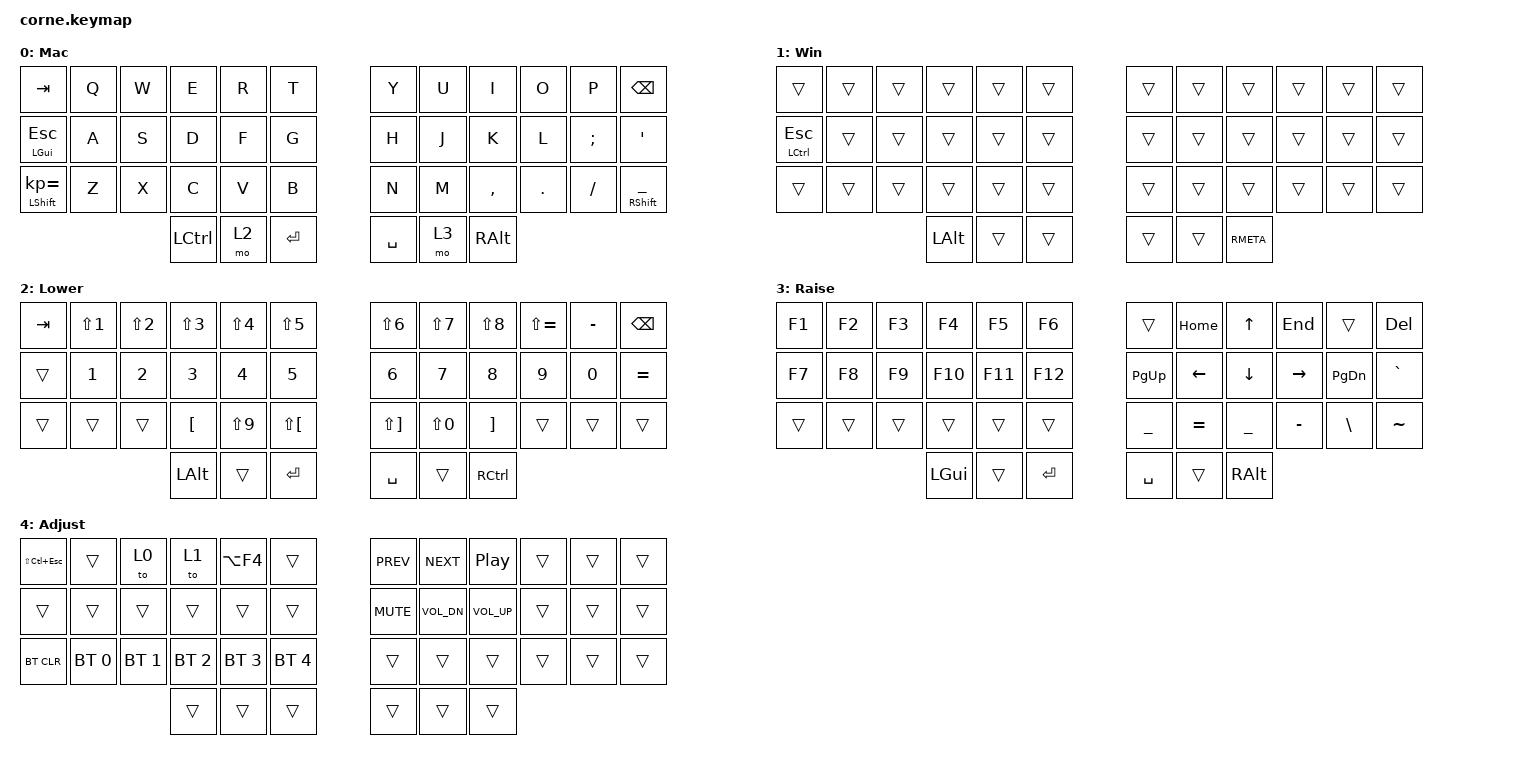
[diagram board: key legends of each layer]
/*
 * Copyright (c) 2020 The ZMK Contributors
 *
 * SPDX-License-Identifier: MIT
 */

#include <behaviors.dtsi>
#include <dt-bindings/zmk/bt.h>
#include <dt-bindings/zmk/keys.h>

/ {
    keymap {
        compatible = "zmk,keymap";

        default_layer {
            // -----------------------------------------------------------------------------------------
            // |  TAB |  Q  |  W  |  E  |  R  |  T  |   |  Y  |  U   |  I  |  O  |  P  | BKSP |
            // | CTRL |  A  |  S  |  D  |  F  |  G  |   |  H  |  J   |  K  |  L  |  ;  |  '   |
            // | SHFT |  Z  |  X  |  C  |  V  |  B  |   |  N  |  M   |  ,  |  .  |  /  | ESC  |
            //                    | GUI | LWR | SPC |   | ENT | RSE  | ALT |

            display-name = "Mac";
            bindings = <
&kp TAB                  &kp Q  &kp W  &kp E      &kp R  &kp T      &kp Y      &kp U  &kp I          &kp O    &kp P     &kp BSPC
&mt LGUI ESCAPE          &kp A  &kp S  &kp D      &kp F  &kp G      &kp H      &kp J  &kp K          &kp L    &kp SEMI  &kp SQT
&mt LEFT_SHIFT KP_EQUAL  &kp Z  &kp X  &kp C      &kp V  &kp B      &kp N      &kp M  &kp COMMA      &kp DOT  &kp FSLH  &mt RIGHT_SHIFT UNDER
                                       &kp LCTRL  &mo 2  &kp RET    &kp SPACE  &mo 3  &kp RIGHT_ALT
            >;
        };

        win_layer {
            bindings = <
&trans         &trans  &trans  &trans        &trans  &trans    &trans  &trans  &trans     &trans  &trans  &trans
&mt LCTRL ESC  &trans  &trans  &trans        &trans  &trans    &trans  &trans  &trans     &trans  &trans  &trans
&trans         &trans  &trans  &trans        &trans  &trans    &trans  &trans  &trans     &trans  &trans  &trans
                               &kp LEFT_ALT  &trans  &trans    &trans  &trans  &kp RMETA
            >;

            label = "Win";
        };

        lower_layer {
            // -----------------------------------------------------------------------------------------
            // |  TAB |  1  |  2  |  3  |  4  |  5  |   |  6  |  7  |  8  |  9  |  0  | BKSP |
            // | BTCLR| BT1 | BT2 | BT3 | BT4 | BT5 |   | LFT | DWN |  UP | RGT |     |      |
            // | SHFT |     |     |     |     |     |   |     |     |     |     |     |      |
            //                    | GUI |     | SPC |   | ENT |     | ALT |

            display-name = "Lower";
            bindings = <
&kp TAB  &kp LS(N1)  &kp LS(N2)  &kp LS(N3)        &kp LS(N4)  &kp LS(N5)              &kp LS(N6)             &kp LS(N7)  &kp LS(N8)         &kp LS(EQUAL)  &kp MINUS  &kp BSPC
&trans   &kp N1      &kp N2      &kp N3            &kp N4      &kp N5                  &kp N6                 &kp N7      &kp N8             &kp N9         &kp N0     &kp EQUAL
&trans   &trans      &trans      &kp LEFT_BRACKET  &kp LS(N9)  &kp LS(LEFT_BRACKET)    &kp LS(RIGHT_BRACKET)  &kp LS(N0)  &kp RIGHT_BRACKET  &trans         &trans     &trans
                                 &kp LALT          &trans      &kp RET                 &kp SPACE              &trans      &kp RCTRL
            >;
        };

        raise_layer {
            // -----------------------------------------------------------------------------------------
            // |  TAB |  !  |  @  |  #  |  $  |  %  |   |  ^  |  &  |  *  |  (  |  )  | BKSP |
            // | CTRL |     |     |     |     |     |   |  -  |  =  |  [  |  ]  |  \  |  `   |
            // | SHFT |     |     |     |     |     |   |  _  |  +  |  {  |  }  | "|" |  ~   |
            //                    | GUI |     | SPC |   | ENT |     | ALT |

            display-name = "Raise";
            bindings = <
&kp F1  &kp F2  &kp F3  &kp F4    &kp F5   &kp F6     &trans     &kp HOME   &kp UP_ARROW  &kp END    &trans         &kp DEL
&kp F7  &kp F8  &kp F9  &kp F10   &kp F11  &kp F12    &kp PG_UP  &kp LEFT   &kp DOWN      &kp RIGHT  &kp PAGE_DOWN  &kp GRAVE
&trans  &trans  &trans  &trans    &trans   &trans     &kp UNDER  &kp EQUAL  &kp UNDER     &kp MINUS  &kp BACKSLASH  &kp TILDE
                        &kp LGUI  &trans   &kp RET    &kp SPACE  &trans     &kp RALT
            >;
        };

        adjust_layer {
            display-name = "Adjust";
            bindings = <
&kp LS(LC(ESCAPE))  &trans        &to 0         &to 1         &kp LA(F4)    &trans          &kp C_PREV  &kp C_NEXT    &kp C_PLAY_PAUSE  &trans  &trans  &trans
&trans              &trans        &trans        &trans        &trans        &trans          &kp C_MUTE  &kp C_VOL_DN  &kp C_VOL_UP      &trans  &trans  &trans
&bt BT_CLR          &bt BT_SEL 0  &bt BT_SEL 1  &bt BT_SEL 2  &bt BT_SEL 3  &bt BT_SEL 4    &trans      &trans        &trans            &trans  &trans  &trans
                                                &trans        &trans        &trans          &trans      &trans        &trans
            >;
        };
    };

    conditional_layers {
        compatible = "zmk,conditional-layers";

        adjust {
            if-layers = <2 3>;
            then-layer = <4>;
        };
    };
};
